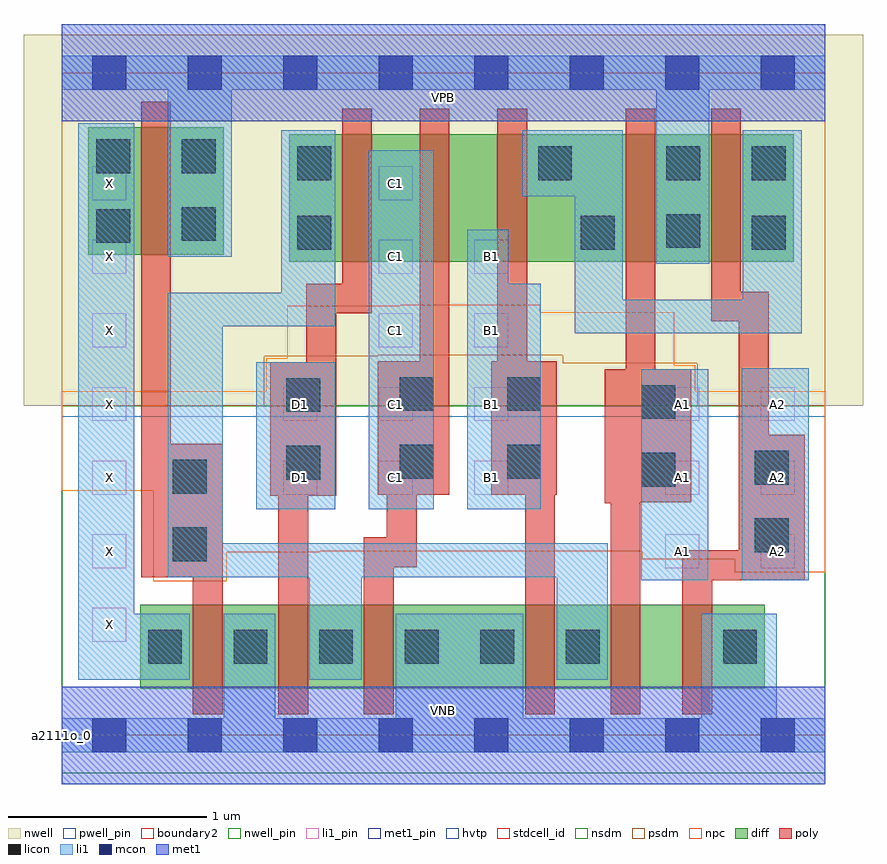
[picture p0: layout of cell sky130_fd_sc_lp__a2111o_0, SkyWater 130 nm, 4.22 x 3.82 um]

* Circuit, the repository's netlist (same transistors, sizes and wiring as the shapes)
* Copyright 2020 The SkyWater PDK Authors
*
* Licensed under the Apache License, Version 2.0 (the "License");
* you may not use this file except in compliance with the License.
* You may obtain a copy of the License at
*
*     https://www.apache.org/licenses/LICENSE-2.0
*
* Unless required by applicable law or agreed to in writing, software
* distributed under the License is distributed on an "AS IS" BASIS,
* WITHOUT WARRANTIES OR CONDITIONS OF ANY KIND, either express or implied.
* See the License for the specific language governing permissions and
* limitations under the License.
*
* SPDX-License-Identifier: Apache-2.0

.SUBCKT sky130_fd_sc_lp__a2111o_0 A1 A2 B1 C1 D1 VGND VNB VPB VPWR X
*.PININFO A1:I A2:I B1:I C1:I D1:I VGND:I VNB:I VPB:I VPWR:I X:O
MMPA0 pndA A1 VPWR VPB sky130_fd_pr__pfet_01v8_hvt m=1 w=0.64U l=0.15U mult=1 sa=0.265
+ sb=0.265 sd=0.28 area=0.063 perim=1.14
MMPA1 pndA A2 VPWR VPB sky130_fd_pr__pfet_01v8_hvt m=1 w=0.64U l=0.15U mult=1 sa=0.265
+ sb=0.265 sd=0.28 area=0.063 perim=1.14
MMPB0 pndB B1 pndA VPB sky130_fd_pr__pfet_01v8_hvt m=1 w=0.64U l=0.15U mult=1 sa=0.265
+ sb=0.265 sd=0.28 area=0.063 perim=1.14
MMPC0 pndC C1 pndB VPB sky130_fd_pr__pfet_01v8_hvt m=1 w=0.64U l=0.15U mult=1 sa=0.265
+ sb=0.265 sd=0.28 area=0.063 perim=1.14
MMPD0 y D1 pndC VPB sky130_fd_pr__pfet_01v8_hvt m=1 w=0.64U l=0.15U mult=1 sa=0.265
+ sb=0.265 sd=0.28 area=0.063 perim=1.14
MMIPX X y VPWR VPB sky130_fd_pr__pfet_01v8_hvt m=1 w=0.64U l=0.15U mult=1 sa=0.265
+ sb=0.265 sd=0.28 area=0.063 perim=1.14
MMNA0 y A1 sndA1 VNB sky130_fd_pr__nfet_01v8 m=1 w=0.42U l=0.15U mult=1 sa=0.265
+ sb=0.265 sd=0.28 area=0.063 perim=1.14
MMNA1 sndA1 A2 VGND VNB sky130_fd_pr__nfet_01v8 m=1 w=0.42U l=0.15U mult=1 sa=0.265
+ sb=0.265 sd=0.28 area=0.063 perim=1.14
MMNB0 y B1 VGND VNB sky130_fd_pr__nfet_01v8 m=1 w=0.42U l=0.15U mult=1 sa=0.265
+ sb=0.265 sd=0.28 area=0.063 perim=1.14
MMNC0 y C1 VGND VNB sky130_fd_pr__nfet_01v8 m=1 w=0.42U l=0.15U mult=1 sa=0.265
+ sb=0.265 sd=0.28 area=0.063 perim=1.14
MMND0 y D1 VGND VNB sky130_fd_pr__nfet_01v8 m=1 w=0.42U l=0.15U mult=1 sa=0.265
+ sb=0.265 sd=0.28 area=0.063 perim=1.14
MMINX X y VGND VNB sky130_fd_pr__nfet_01v8 m=1 w=0.42U l=0.15U mult=1 sa=0.265
+ sb=0.265 sd=0.28 area=0.063 perim=1.14
.ENDS sky130_fd_sc_lp__a2111o_0

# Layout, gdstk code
import gdstk
lib = gdstk.Library(unit=1e-6, precision=1e-09)
def R(c, l, rs):  # rectangles x0, y0, x1, y1
    for r in rs: c.add(gdstk.rectangle(r[:2], r[2:], *l))
def A(c, l, x, y, w, h, nx, ny, dx, dy):  # array of equal rectangles
    R(c, l, [(x+i*dx, y+j*dy, x+i*dx+w, y+j*dy+h) for i in range(nx) for j in range(ny)])
def P(c, l, *ps):  # polygons
    for p in ps: c.add(gdstk.Polygon(p, *l))
nwell_pin = (64, 16)
nwell = (64, 20)
diff = (65, 20)
poly = (66, 20)
licon = (66, 44)
li1_pin = (67, 16)
li1 = (67, 20)
mcon = (67, 44)
met1_pin = (68, 16)
met1 = (68, 20)
hvtp = (78, 44)
stdcell_id = (81, 4)
nsdm = (93, 44)
psdm = (94, 20)
npc = (95, 20)
pwell_pin = (122, 16)
boundary2 = (236, 0)

sky130_fd_sc_lp__a2111o_ = lib.new_cell('sky130_fd_sc_lp__a2111o_0')
R(sky130_fd_sc_lp__a2111o_, nwell_pin, [(0,3.085,3.84,3.33)])
R(sky130_fd_sc_lp__a2111o_, nwell, [(-0.19,1.655,4.03,3.52)])
R(sky130_fd_sc_lp__a2111o_, diff, [(0.395,0.235,3.535,0.655), (1.145,2.38,3.68,3.02), (0.135,2.415,0.815,3.055)])
P(sky130_fd_sc_lp__a2111o_, poly, [(0.81,1.465),(0.55,1.465),(0.55,3.185),(0.4,3.185),(0.4,0.795),(0.66,0.795),(0.66,0.105),(0.81,0.105)],
  [(1.56,3.15),(1.41,3.15),(1.41,2.27),(1.23,2.27),(1.23,1.875),(1.05,1.875),(1.05,1.205),(1.09,1.205),(1.09,0.105),(1.24,0.105),(1.24,1.205),(1.38,1.205),(1.38,2.12),(1.56,2.12)],
  [(1.95,3.15),(1.8,3.15),(1.8,1.88),(1.59,1.88),(1.59,1.21),(1.635,1.21),(1.635,0.995),(1.52,0.995),(1.52,0.105),(1.67,0.105),(1.67,0.845),(1.785,0.845),(1.785,1.21),(1.95,1.21)],
  [(2.49,1.88),(2.34,1.88),(2.34,3.15),(2.19,3.15),(2.19,1.88),(2.16,1.88),(2.16,1.21),(2.33,1.21),(2.33,0.105),(2.48,0.105),(2.48,1.21),(2.49,1.21)],
  [(3.165,1.84),(2.985,1.84),(2.985,3.15),(2.835,3.15),(2.835,1.84),(2.73,1.84),(2.73,1.165),(2.76,1.165),(2.76,0.105),(2.91,0.105),(2.91,1.17),(3.165,1.17)],
  [(3.735,1.51),(3.555,1.51),(3.555,2.23),(3.415,2.23),(3.415,3.15),(3.265,3.15),(3.265,2.08),(3.405,2.08),(3.405,0.93),(3.12,0.93),(3.12,0.105),(3.27,0.105),(3.27,0.78),(3.735,0.78)])
A(sky130_fd_sc_lp__a2111o_, licon, 0.435, 0.36, 0.17, 0.17, 4, 1, 0.43, 0)
R(sky130_fd_sc_lp__a2111o_, licon, [(2.105,0.36,2.275,0.53), (2.535,0.36,2.705,0.53), (3.325,0.36,3.495,0.53), (0.56,0.875,0.73,1.045), (3.485,0.92,3.655,1.09), (0.56,1.215,0.73,1.385), (2.915,1.25,3.085,1.42), (3.485,1.26,3.655,1.43), (1.13,1.285,1.3,1.455), (1.7,1.29,1.87,1.46), (2.24,1.29,2.41,1.46), (2.915,1.59,3.085,1.76), (1.13,1.625,1.3,1.795), (1.7,1.63,1.87,1.8), (2.24,1.63,2.41,1.8), (1.185,2.44,1.355,2.61), (2.61,2.44,2.78,2.61), (3.47,2.44,3.64,2.61), (3.04,2.45,3.21,2.62), (0.175,2.475,0.345,2.645), (0.605,2.485,0.775,2.655), (1.185,2.79,1.355,2.96), (2.395,2.79,2.565,2.96), (3.04,2.79,3.21,2.96), (3.47,2.79,3.64,2.96), (0.175,2.825,0.345,2.995), (0.605,2.825,0.775,2.995)])
A(sky130_fd_sc_lp__a2111o_, li1_pin, 0.155, 0.47, 0.17, 0.17, 1, 7, 0, 0.37)
A(sky130_fd_sc_lp__a2111o_, li1_pin, 3.035, 0.84, 0.17, 0.17, 1, 3, 0, 0.37)
A(sky130_fd_sc_lp__a2111o_, li1_pin, 3.515, 0.84, 0.17, 0.17, 1, 3, 0, 0.37)
A(sky130_fd_sc_lp__a2111o_, li1_pin, 1.115, 1.21, 0.17, 0.17, 3, 2, 0.48, 0.37)
A(sky130_fd_sc_lp__a2111o_, li1_pin, 1.595, 1.95, 0.17, 0.17, 1, 3, 0, 0.37)
R(sky130_fd_sc_lp__a2111o_, li1_pin, [(2.075,1.95,2.245,2.12), (2.075,2.32,2.245,2.49)])
R(sky130_fd_sc_lp__a2111o_, li1, [(2.915,0.78,3.25,1.84), (3.42,0.78,3.755,1.845), (0.98,1.135,1.375,1.875), (1.545,1.135,1.87,2.94)])
P(sky130_fd_sc_lp__a2111o_, li1, [(0.645,0.61),(0.365,0.61),(0.365,3.075),(0.085,3.075),(0.085,0.28),(0.645,0.28)],
  [(3.72,3.04),(3.425,3.04),(3.425,2.19),(2.82,2.19),(2.82,3.04),(2.315,3.04),(2.315,2.71),(2.58,2.71),(2.58,2.02),(3.72,2.02)],
  [(3.84,0.085),(3.595,0.085),(3.595,0.61),(3.215,0.61),(3.215,0.085),(2.32,0.085),(2.32,0.61),(1.68,0.61),(1.68,0.085),(1.075,0.085),(1.075,0.61),(0.815,0.61),(0.815,0.085),(0,0.085),(0,-0.085),(3.84,-0.085)],
  [(3.84,3.415),(0,3.415),(0,3.245),(0.535,3.245),(0.535,2.405),(0.855,2.405),(0.855,3.245),(2.99,3.245),(2.99,2.37),(3.255,2.37),(3.255,3.245),(3.84,3.245)],
  [(2.745,0.965),(0.81,0.965),(0.81,2.055),(1.375,2.055),(1.375,3.04),(1.105,3.04),(1.105,2.225),(0.535,2.225),(0.535,0.795),(1.245,0.795),(1.245,0.28),(1.51,0.28),(1.51,0.795),(2.49,0.795),(2.49,0.28),(2.745,0.28)],
  [(2.41,2.27),(2.245,2.27),(2.245,2.54),(2.04,2.54),(2.04,1.135),(2.41,1.135)])
A(sky130_fd_sc_lp__a2111o_, mcon, 0.155, -0.085, 0.17, 0.17, 8, 2, 0.48, 3.33)
R(sky130_fd_sc_lp__a2111o_, met1_pin, [(0,0,3.84,0.245), (0,3.085,3.84,3.33)])
R(sky130_fd_sc_lp__a2111o_, met1, [(0,-0.245,3.84,0.245), (0,3.085,3.84,3.575)])
R(sky130_fd_sc_lp__a2111o_, hvtp, [(0,1.6,3.84,3.33)])
R(sky130_fd_sc_lp__a2111o_, stdcell_id, [(0,0,3.84,3.33)])
R(sky130_fd_sc_lp__a2111o_, nsdm, [(0,-0.19,3.84,1.655)])
P(sky130_fd_sc_lp__a2111o_, psdm, [(3.84,3.52),(0,3.52),(0,1.655),(1.02,1.655),(1.02,1.905),(1.59,1.905),(1.59,1.91),(2.52,1.91),(2.52,1.87),(3.195,1.87),(3.195,1.655),(3.84,1.655)])
P(sky130_fd_sc_lp__a2111o_, npc, [(3.84,1.73),(3.185,1.73),(3.185,1.86),(3.08,1.86),(3.08,2.125),(2.405,2.125),(2.405,2.165),(1.705,2.165),(1.705,2.16),(1.135,2.16),(1.135,1.895),(1.03,1.895),(1.03,1.73),(0,1.73),(0,1.23),(0.46,1.23),(0.46,0.775),(0.83,0.775),(0.83,0.92),(1.295,0.92),(1.295,0.925),(2.92,0.925),(2.92,0.885),(3.385,0.885),(3.385,0.82),(3.84,0.82)])
R(sky130_fd_sc_lp__a2111o_, pwell_pin, [(0,0,3.84,0.245)])
R(sky130_fd_sc_lp__a2111o_, boundary2, [(0,0,3.84,3.33)])
sky130_fd_sc_lp__a2111o_.add(gdstk.Label('VNB', (1.92,0.123), layer=64, texttype=59))
sky130_fd_sc_lp__a2111o_.add(gdstk.Label('VPB', (1.92,3.208), layer=64, texttype=5))
sky130_fd_sc_lp__a2111o_.add(gdstk.Label('a2111o_0', (0,0), layer=83, texttype=44))
sky130_fd_sc_lp__a2111o_.add(gdstk.Label('VPWR', (1.92,3.208), layer=68, texttype=5))
sky130_fd_sc_lp__a2111o_.add(gdstk.Label('VGND', (1.92,0.123), layer=68, texttype=5))
sky130_fd_sc_lp__a2111o_.add(gdstk.Label('A1', (3.12,0.925), layer=67, texttype=5))
sky130_fd_sc_lp__a2111o_.add(gdstk.Label('A1', (3.12,1.295), layer=67, texttype=5))
sky130_fd_sc_lp__a2111o_.add(gdstk.Label('A1', (3.12,1.665), layer=67, texttype=5))
sky130_fd_sc_lp__a2111o_.add(gdstk.Label('A2', (3.6,0.925), layer=67, texttype=5))
sky130_fd_sc_lp__a2111o_.add(gdstk.Label('A2', (3.6,1.295), layer=67, texttype=5))
sky130_fd_sc_lp__a2111o_.add(gdstk.Label('A2', (3.6,1.665), layer=67, texttype=5))
sky130_fd_sc_lp__a2111o_.add(gdstk.Label('B1', (2.16,1.295), layer=67, texttype=5))
sky130_fd_sc_lp__a2111o_.add(gdstk.Label('B1', (2.16,1.665), layer=67, texttype=5))
sky130_fd_sc_lp__a2111o_.add(gdstk.Label('B1', (2.16,2.035), layer=67, texttype=5))
sky130_fd_sc_lp__a2111o_.add(gdstk.Label('B1', (2.16,2.405), layer=67, texttype=5))
sky130_fd_sc_lp__a2111o_.add(gdstk.Label('C1', (1.68,1.295), layer=67, texttype=5))
sky130_fd_sc_lp__a2111o_.add(gdstk.Label('C1', (1.68,1.665), layer=67, texttype=5))
sky130_fd_sc_lp__a2111o_.add(gdstk.Label('C1', (1.68,2.035), layer=67, texttype=5))
sky130_fd_sc_lp__a2111o_.add(gdstk.Label('C1', (1.68,2.405), layer=67, texttype=5))
sky130_fd_sc_lp__a2111o_.add(gdstk.Label('C1', (1.68,2.775), layer=67, texttype=5))
sky130_fd_sc_lp__a2111o_.add(gdstk.Label('D1', (1.2,1.295), layer=67, texttype=5))
sky130_fd_sc_lp__a2111o_.add(gdstk.Label('D1', (1.2,1.665), layer=67, texttype=5))
sky130_fd_sc_lp__a2111o_.add(gdstk.Label('X', (0.24,0.555), layer=67, texttype=5))
sky130_fd_sc_lp__a2111o_.add(gdstk.Label('X', (0.24,0.925), layer=67, texttype=5))
sky130_fd_sc_lp__a2111o_.add(gdstk.Label('X', (0.24,1.295), layer=67, texttype=5))
sky130_fd_sc_lp__a2111o_.add(gdstk.Label('X', (0.24,1.665), layer=67, texttype=5))
sky130_fd_sc_lp__a2111o_.add(gdstk.Label('X', (0.24,2.035), layer=67, texttype=5))
sky130_fd_sc_lp__a2111o_.add(gdstk.Label('X', (0.24,2.405), layer=67, texttype=5))
sky130_fd_sc_lp__a2111o_.add(gdstk.Label('X', (0.24,2.775), layer=67, texttype=5))

lib.write_gds('sky130_fd_sc_lp__a2111o_0.gds')
